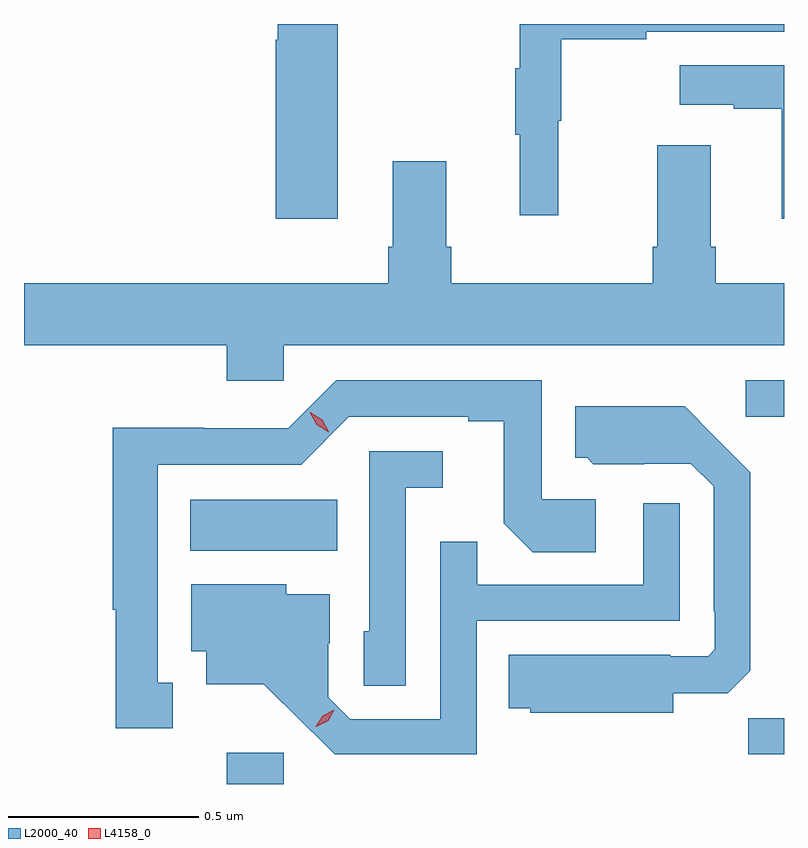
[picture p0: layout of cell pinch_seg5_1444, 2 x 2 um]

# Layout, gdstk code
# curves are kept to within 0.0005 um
import gdstk
lib = gdstk.Library(unit=1e-6, precision=1e-09)
def R(c, l, rs):  # rectangles x0, y0, x1, y1
    for r in rs: c.add(gdstk.rectangle(r[:2], r[2:], *l))
def P(c, l, *ps):  # polygons
    for p in ps: c.add(gdstk.Polygon(p, *l))
L2000_40 = (2000, 40)
L4158_0 = (4158, 0)

pinch_seg5_1444 = lib.new_cell('pinch_seg5_1444')
R(pinch_seg5_1444, L2000_40, [(165.881,900.894,166.032,900.976), (167.254,900.972,167.348,901.067), (165.785,901.508,166.172,901.642), (167.247,901.86,167.348,901.956)])
P(pinch_seg5_1444, L2000_40, [(166.754,902.64),(166.762,902.64),(166.762,902.854),(166.985,902.854),(166.985,902.874),(167.348,902.874),(167.348,902.894),(166.652,902.894),(166.652,902.777),(166.641,902.777),(166.641,902.603),(166.652,902.603),(166.652,902.391),(166.754,902.391)],
  [(166.174,902.894),(166.016,902.894),(166.016,902.853),(166.01,902.853),(166.01,902.382),(166.174,902.382)],
  [(167.348,902.785),(167.073,902.785),(167.073,902.681),(167.216,902.681),(167.216,902.671),(167.342,902.671),(167.342,902.382),(167.348,902.382)],
  [(166.032,902.048),(167.348,902.048),(167.348,902.212),(167.168,902.212),(167.168,902.308),(167.155,902.308),(167.155,902.575),(167.015,902.575),(167.015,902.308),(167.003,902.308),(167.003,902.212),(166.472,902.212),(166.472,902.308),(166.459,902.308),(166.459,902.533),(166.319,902.533),(166.319,902.308),(166.307,902.308),(166.307,902.212),(165.348,902.212),(165.348,902.048),(165.881,902.048),(165.881,901.955),(166.032,901.955)],
  [(165.739,901.161),(165.7,901.161),(165.7,901.734),(166.077,901.734),(166.203,901.86),(166.517,901.86),(166.517,901.848),(166.611,901.848),(166.611,901.58),(166.687,901.504),(166.852,901.504),(166.852,901.644),(166.71,901.644),(166.71,901.956),(166.17,901.956),(166.044,901.83),(165.822,901.83),(165.822,901.832),(165.582,901.832),(165.582,901.353),(165.589,901.353),(165.589,901.041),(165.739,901.041)],
  [(167.056,901.133),(167.2,901.133),(167.259,901.192),(167.259,901.714),(167.087,901.888),(166.799,901.888),(166.799,901.752),(166.83,901.752),(166.846,901.736),(166.98,901.736),(166.98,901.737),(167.103,901.737),(167.163,901.677),(167.163,901.348),(167.166,901.348),(167.166,901.248),(167.148,901.23),(167.048,901.23),(167.048,901.234),(166.624,901.234),(166.624,901.094),(166.68,901.094),(166.68,901.082),(167.056,901.082)],
  [(166.353,901.673),(166.45,901.673),(166.45,901.77),(166.257,901.77),(166.257,901.296),(166.242,901.296),(166.242,901.153),(166.353,901.153)],
  [(166.539,901.323),(167.073,901.323),(167.073,901.633),(166.977,901.633),(166.977,901.419),(166.541,901.419),(166.541,901.532),(166.443,901.532),(166.443,901.065),(166.206,901.065),(166.149,901.122),(166.149,901.264),(166.153,901.264),(166.153,901.393),(166.038,901.393),(166.038,901.42),(165.788,901.42),(165.788,901.244),(165.827,901.244),(165.827,901.157),(165.979,901.157),(166.166,900.972),(166.539,900.972)])
P(pinch_seg5_1444, L4158_0, [(166.116,901.045),(166.116,901.045),(166.134,901.074),(166.165,901.089),(166.165,901.089),(166.165,901.089),(166.148,901.06),(166.117,901.045)],
  [(166.15,901.82),(166.118,901.839),(166.1,901.872),(166.1,901.872),(166.101,901.872),(166.133,901.853),(166.15,901.821),(166.15,901.82)])

lib.write_gds('pinch_seg5_1444.gds')
